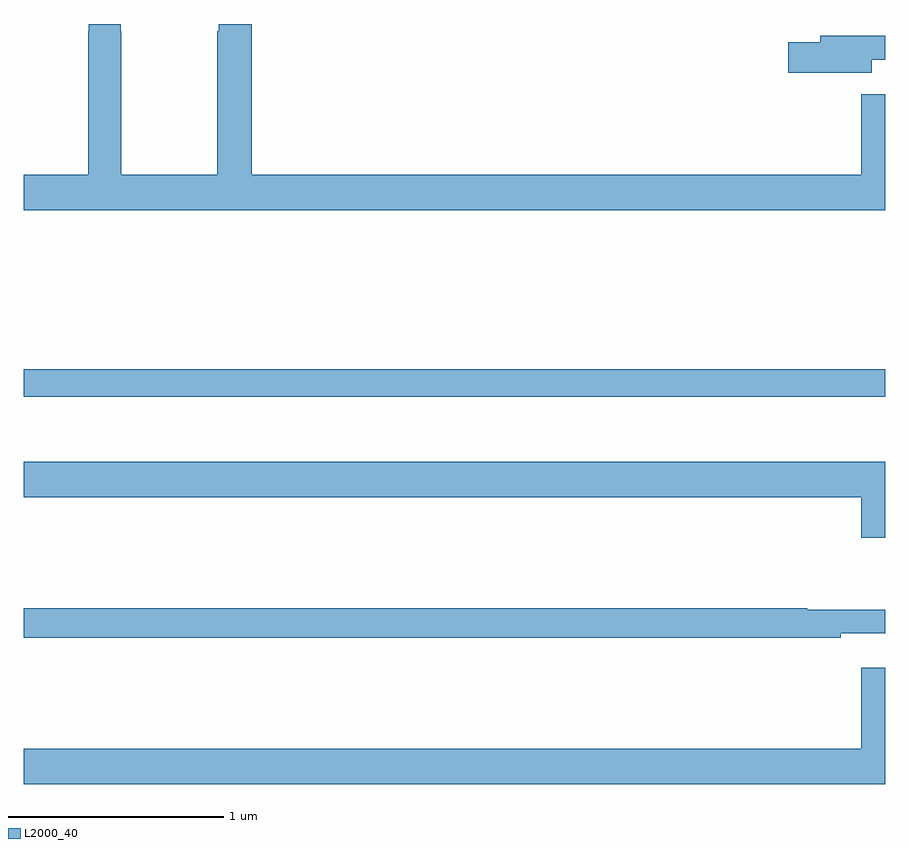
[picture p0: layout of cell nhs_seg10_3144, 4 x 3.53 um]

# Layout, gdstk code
import gdstk
lib = gdstk.Library(unit=1e-6, precision=1e-09)
def R(c, l, rs):  # rectangles x0, y0, x1, y1
    for r in rs: c.add(gdstk.rectangle(r[:2], r[2:], *l))
def P(c, l, *ps):  # polygons
    for p in ps: c.add(gdstk.Polygon(p, *l))
L2000_40 = (2000, 40)

nhs_seg10_3144 = lib.new_cell('nhs_seg10_3144')
R(nhs_seg10_3144, L2000_40, [(281,1312.77,285,1312.898)])
P(nhs_seg10_3144, L2000_40, [(285,1314.175),(284.888,1314.175),(284.888,1313.8),(282.059,1313.8),(282.059,1314.5),(281.905,1314.5),(281.905,1314.467),(281.899,1314.467),(281.899,1313.8),(281.454,1313.8),(281.454,1314.467),(281.451,1314.467),(281.451,1314.5),(281.301,1314.5),(281.301,1314.467),(281.299,1314.467),(281.299,1313.8),(281,1313.8),(281,1313.636),(285,1313.636)],
  [(284.938,1314.335),(285,1314.335),(285,1314.445),(284.699,1314.445),(284.699,1314.416),(284.55,1314.416),(284.55,1314.274),(284.938,1314.274)],
  [(285,1312.468),(281,1312.468),(281,1312.304),(284.888,1312.304),(284.888,1312.116),(285,1312.116)],
  [(284.792,1311.671),(285,1311.671),(285,1311.781),(284.638,1311.781),(284.638,1311.788),(281,1311.788),(281,1311.652),(284.792,1311.652)],
  [(285,1311.511),(284.888,1311.511),(284.888,1311.136),(281,1311.136),(281,1310.972),(285,1310.972)])

lib.write_gds('nhs_seg10_3144.gds')
